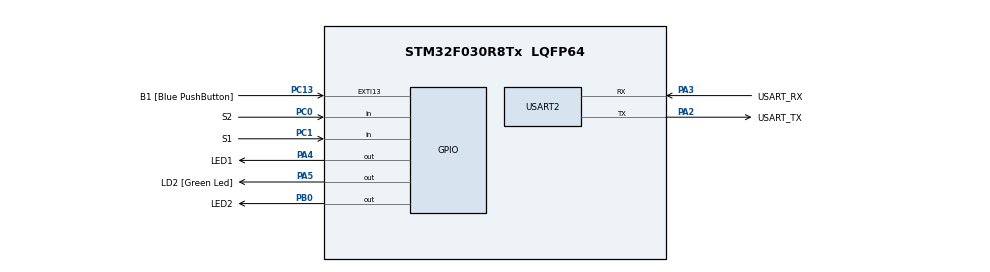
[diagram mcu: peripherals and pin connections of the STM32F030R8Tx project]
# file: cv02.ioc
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Mcu.Family=STM32F0
Mcu.Name=STM32F030R8Tx
Mcu.Package=LQFP64
PA13.GPIO_Label=TMS
PA13.Mode=Serial_Wire
PA13.Signal=SYS_SWDIO
PA14.GPIO_Label=TCK
PA14.Mode=Serial_Wire
PA14.Signal=SYS_SWCLK
PA2.GPIO_Label=USART_TX
PA2.GPIO_Mode=GPIO_MODE_AF_PP
PA2.GPIO_PuPd=GPIO_NOPULL
PA2.GPIO_Speed=GPIO_SPEED_FREQ_LOW
PA2.Mode=Asynchronous
PA2.Signal=USART2_TX
PA3.GPIO_Label=USART_RX
PA3.GPIO_Mode=GPIO_MODE_AF_PP
PA3.GPIO_PuPd=GPIO_NOPULL
PA3.GPIO_Speed=GPIO_SPEED_FREQ_LOW
PA3.Mode=Asynchronous
PA3.Signal=USART2_RX
PA4.GPIO_Label=LED1
PA4.Signal=GPIO_Output
PA5.GPIO_Label=LD2 [Green Led]
PA5.GPIO_Mode=GPIO_MODE_OUTPUT_PP
PA5.GPIO_PuPd=GPIO_NOPULL
PA5.GPIO_Speed=GPIO_SPEED_FREQ_LOW
PA5.Signal=GPIO_Output
PB0.GPIO_Label=LED2
PB0.Signal=GPIO_Output
PC0.GPIO_Label=S2
PC0.GPIO_PuPd=GPIO_PULLUP
PC0.Signal=GPIO_Input
PC1.GPIO_Label=S1
PC1.GPIO_PuPd=GPIO_PULLUP
PC1.Signal=GPIO_Input
PC13.GPIO_Label=B1 [Blue PushButton]
PC13.GPIO_ModeDefaultEXTI=GPIO_MODE_IT_FALLING
PC13.Signal=GPXTI13
PC14-OSC32_IN.Mode=LSE-External-Oscillator
PC14-OSC32_IN.Signal=RCC_OSC32_IN
PC15-OSC32_OUT.Mode=LSE-External-Oscillator
PC15-OSC32_OUT.Signal=RCC_OSC32_OUT
PF0-OSC_IN.Mode=HSE-External-Clock-Source
PF0-OSC_IN.Signal=RCC_OSC_IN
PF1-OSC_OUT.Signal=RCC_OSC_OUT
ProjectManager.HeapSize=0x200
ProjectManager.StackSize=0x400
ProjectManager.TargetToolchain=STM32CubeIDE
RCC.AHBFreq_Value=48000000
RCC.APB1Freq_Value=48000000
RCC.APB1TimFreq_Value=48000000
RCC.HCLKFreq_Value=48000000
RCC.PLLMUL=RCC_PLL_MUL12
RCC.SYSCLKFreq_VALUE=48000000
RCC.SYSCLKSource=RCC_SYSCLKSOURCE_PLLCLK
USART2.VirtualMode-Asynchronous=VM_ASYNC
board=NUCLEO-F030R8

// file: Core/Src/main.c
/* USER CODE BEGIN Header */
/**
  ******************************************************************************
  * @file           : main.c
  * @brief          : Main program body
  ******************************************************************************
  * @attention
  *
  * Copyright (c) 2025 STMicroelectronics.
  * All rights reserved.
  *
  * This software is licensed under terms that can be found in the LICENSE file
  * in the root directory of this software component.
  * If no LICENSE file comes with this software, it is provided AS-IS.
  *
  ******************************************************************************
  */
/* USER CODE END Header */
#include "main.h"

/* USER CODE BEGIN PD */
#define LED_TIME_BLINK 300
#define LED_TIME_BUTTON 5
#define LED_TIME_SHORT 100
#define LED_TIME_LONG 1000
/* USER CODE END PD */

/* USER CODE BEGIN PV */

volatile uint32_t Tick; //TOHLE JSEM PRIDAL

/* USER CODE END PV */

void SystemClock_Config(void);
static void MX_GPIO_Init(void);
static void MX_USART2_UART_Init(void);
/* USER CODE BEGIN PFP */
static void blink(void);
static void button(void);
/* USER CODE END PFP */

int main(void)
{

  /* MCU Configuration--------------------------------------------------------*/

  /* Reset of all peripherals, Initializes the Flash interface and the Systick. */
  LL_APB1_GRP2_EnableClock(LL_APB1_GRP2_PERIPH_SYSCFG);
  LL_APB1_GRP1_EnableClock(LL_APB1_GRP1_PERIPH_PWR);

  /* Configure the system clock */
  SystemClock_Config();

  /* Initialize all configured peripherals */
  MX_GPIO_Init();
  MX_USART2_UART_Init();
  /* USER CODE BEGIN 2 */

  LL_SYSTICK_EnableIT(); //TOHLE JSEM PRIDAL

  /* USER CODE END 2 */

  /* Infinite loop */
  /* USER CODE BEGIN WHILE */
  while (1)
  {
	  blink();
	  button();

    /* USER CODE END WHILE */

  }
}

void SystemClock_Config(void)
{
  LL_FLASH_SetLatency(LL_FLASH_LATENCY_1);
  while(LL_FLASH_GetLatency() != LL_FLASH_LATENCY_1)
  {
  }
  LL_RCC_HSI_Enable();

   /* Wait till HSI is ready */
  while(LL_RCC_HSI_IsReady() != 1)
  {

  }
  LL_RCC_HSI_SetCalibTrimming(16);
  LL_RCC_PLL_ConfigDomain_SYS(LL_RCC_PLLSOURCE_HSI_DIV_2, LL_RCC_PLL_MUL_12);
  LL_RCC_PLL_Enable();

   /* Wait till PLL is ready */
  while(LL_RCC_PLL_IsReady() != 1)
  {

  }
  LL_RCC_SetAHBPrescaler(LL_RCC_SYSCLK_DIV_1);
  LL_RCC_SetAPB1Prescaler(LL_RCC_APB1_DIV_1);
  LL_RCC_SetSysClkSource(LL_RCC_SYS_CLKSOURCE_PLL);

   /* Wait till System clock is ready */
  while(LL_RCC_GetSysClkSource() != LL_RCC_SYS_CLKSOURCE_STATUS_PLL)
  {

  }
  LL_Init1msTick(48000000);
  LL_SetSystemCoreClock(48000000);
}

static void MX_USART2_UART_Init(void)
{

  LL_USART_InitTypeDef USART_InitStruct = {0};

  LL_GPIO_InitTypeDef GPIO_InitStruct = {0};

  /* Peripheral clock enable */
  LL_APB1_GRP1_EnableClock(LL_APB1_GRP1_PERIPH_USART2);

  LL_AHB1_GRP1_EnableClock(LL_AHB1_GRP1_PERIPH_GPIOA);
  /**USART2 GPIO Configuration
  PA2   ------> USART2_TX
  PA3   ------> USART2_RX
  */
  GPIO_InitStruct.Pin = USART_TX_Pin;
  GPIO_InitStruct.Mode = LL_GPIO_MODE_ALTERNATE;
  GPIO_InitStruct.Speed = LL_GPIO_SPEED_FREQ_LOW;
  GPIO_InitStruct.OutputType = LL_GPIO_OUTPUT_PUSHPULL;
  GPIO_InitStruct.Pull = LL_GPIO_PULL_NO;
  GPIO_InitStruct.Alternate = LL_GPIO_AF_1;
  LL_GPIO_Init(USART_TX_GPIO_Port, &GPIO_InitStruct);

  GPIO_InitStruct.Pin = USART_RX_Pin;
  GPIO_InitStruct.Mode = LL_GPIO_MODE_ALTERNATE;
  GPIO_InitStruct.Speed = LL_GPIO_SPEED_FREQ_LOW;
  GPIO_InitStruct.OutputType = LL_GPIO_OUTPUT_PUSHPULL;
  GPIO_InitStruct.Pull = LL_GPIO_PULL_NO;
  GPIO_InitStruct.Alternate = LL_GPIO_AF_1;
  LL_GPIO_Init(USART_RX_GPIO_Port, &GPIO_InitStruct);

  USART_InitStruct.BaudRate = 38400;
  USART_InitStruct.DataWidth = LL_USART_DATAWIDTH_8B;
  USART_InitStruct.StopBits = LL_USART_STOPBITS_1;
  USART_InitStruct.Parity = LL_USART_PARITY_NONE;
  USART_InitStruct.TransferDirection = LL_USART_DIRECTION_TX_RX;
  USART_InitStruct.HardwareFlowControl = LL_USART_HWCONTROL_NONE;
  USART_InitStruct.OverSampling = LL_USART_OVERSAMPLING_16;
  LL_USART_Init(USART2, &USART_InitStruct);
  LL_USART_DisableIT_CTS(USART2);
  LL_USART_ConfigAsyncMode(USART2);
  LL_USART_Enable(USART2);

}

static void MX_GPIO_Init(void)
{
  LL_EXTI_InitTypeDef EXTI_InitStruct = {0};
  LL_GPIO_InitTypeDef GPIO_InitStruct = {0};

  /* GPIO Ports Clock Enable */
  LL_AHB1_GRP1_EnableClock(LL_AHB1_GRP1_PERIPH_GPIOC);
  LL_AHB1_GRP1_EnableClock(LL_AHB1_GRP1_PERIPH_GPIOF);
  LL_AHB1_GRP1_EnableClock(LL_AHB1_GRP1_PERIPH_GPIOA);
  LL_AHB1_GRP1_EnableClock(LL_AHB1_GRP1_PERIPH_GPIOB);

  /**/
  LL_GPIO_ResetOutputPin(LED1_GPIO_Port, LED1_Pin);

  /**/
  LL_GPIO_ResetOutputPin(LD2_GPIO_Port, LD2_Pin);

  /**/
  LL_GPIO_ResetOutputPin(LED2_GPIO_Port, LED2_Pin);

  /**/
  LL_SYSCFG_SetEXTISource(LL_SYSCFG_EXTI_PORTC, LL_SYSCFG_EXTI_LINE13);

  /**/
  LL_GPIO_SetPinPull(B1_GPIO_Port, B1_Pin, LL_GPIO_PULL_NO);

  /**/
  LL_GPIO_SetPinMode(B1_GPIO_Port, B1_Pin, LL_GPIO_MODE_INPUT);

  /**/
  EXTI_InitStruct.Line_0_31 = LL_EXTI_LINE_13;
  EXTI_InitStruct.LineCommand = ENABLE;
  EXTI_InitStruct.Mode = LL_EXTI_MODE_IT;
  EXTI_InitStruct.Trigger = LL_EXTI_TRIGGER_FALLING;
  LL_EXTI_Init(&EXTI_InitStruct);

  /**/
  GPIO_InitStruct.Pin = S2_Pin;
  GPIO_InitStruct.Mode = LL_GPIO_MODE_INPUT;
  GPIO_InitStruct.Pull = LL_GPIO_PULL_UP;
  LL_GPIO_Init(S2_GPIO_Port, &GPIO_InitStruct);

  /**/
  GPIO_InitStruct.Pin = S1_Pin;
  GPIO_InitStruct.Mode = LL_GPIO_MODE_INPUT;
  GPIO_InitStruct.Pull = LL_GPIO_PULL_UP;
  LL_GPIO_Init(S1_GPIO_Port, &GPIO_InitStruct);

  /**/
  GPIO_InitStruct.Pin = LED1_Pin;
  GPIO_InitStruct.Mode = LL_GPIO_MODE_OUTPUT;
  GPIO_InitStruct.Speed = LL_GPIO_SPEED_FREQ_LOW;
  GPIO_InitStruct.OutputType = LL_GPIO_OUTPUT_PUSHPULL;
  GPIO_InitStruct.Pull = LL_GPIO_PULL_NO;
  LL_GPIO_Init(LED1_GPIO_Port, &GPIO_InitStruct);

  /**/
  GPIO_InitStruct.Pin = LD2_Pin;
  GPIO_InitStruct.Mode = LL_GPIO_MODE_OUTPUT;
  GPIO_InitStruct.Speed = LL_GPIO_SPEED_FREQ_LOW;
  GPIO_InitStruct.OutputType = LL_GPIO_OUTPUT_PUSHPULL;
  GPIO_InitStruct.Pull = LL_GPIO_PULL_NO;
  LL_GPIO_Init(LD2_GPIO_Port, &GPIO_InitStruct);

  /**/
  GPIO_InitStruct.Pin = LED2_Pin;
  GPIO_InitStruct.Mode = LL_GPIO_MODE_OUTPUT;
  GPIO_InitStruct.Speed = LL_GPIO_SPEED_FREQ_LOW;
  GPIO_InitStruct.OutputType = LL_GPIO_OUTPUT_PUSHPULL;
  GPIO_InitStruct.Pull = LL_GPIO_PULL_NO;
  LL_GPIO_Init(LED2_GPIO_Port, &GPIO_InitStruct);

}

/* USER CODE BEGIN 4 */

void blink(void)
{
	static uint32_t delay;

	if (Tick > delay + LED_TIME_BLINK) {
		LL_GPIO_TogglePin(LED1_GPIO_Port, LED1_Pin);
		delay = Tick;
	}
}

void button(void)
{
	static uint32_t off_time;
	static uint32_t sample;

	if (Tick > sample + LED_TIME_BUTTON){
/*		static uint32_t old_s1;
		uint32_t new_s1 = LL_GPIO_IsInputPinSet(S1_GPIO_Port, S1_Pin);
*/
		static uint32_t old_s2;
		uint32_t new_s2 = LL_GPIO_IsInputPinSet(S2_GPIO_Port, S2_Pin);

/*		if (old_s1 && !new_s1) { // falling edge
			off_time = Tick + LED_TIME_LONG;
			LL_GPIO_SetOutputPin(LED2_GPIO_Port, LED2_Pin);
		}
		old_s1 = new_s1; */

		if (old_s2 && !new_s2) { // falling edge
			off_time = Tick + LED_TIME_SHORT;
			LL_GPIO_SetOutputPin(LED2_GPIO_Port, LED2_Pin);
		}
		old_s2 = new_s2;

		static uint16_t debounce = 0xFFFF;

		debounce = (debounce << 1) | (LL_GPIO_IsInputPinSet(S1_GPIO_Port, S1_Pin) ? 0 : 1);
		if(debounce == 0x8000){
			off_time = Tick + LED_TIME_LONG;
			LL_GPIO_SetOutputPin(LED2_GPIO_Port, LED2_Pin);
		}

		sample = Tick;

	}

	if (Tick > off_time) {
		LL_GPIO_ResetOutputPin(LED2_GPIO_Port, LED2_Pin);
	}
}

/* USER CODE END 4 */

void Error_Handler(void)
{
  __disable_irq();
  while (1)
  {
  }
}
